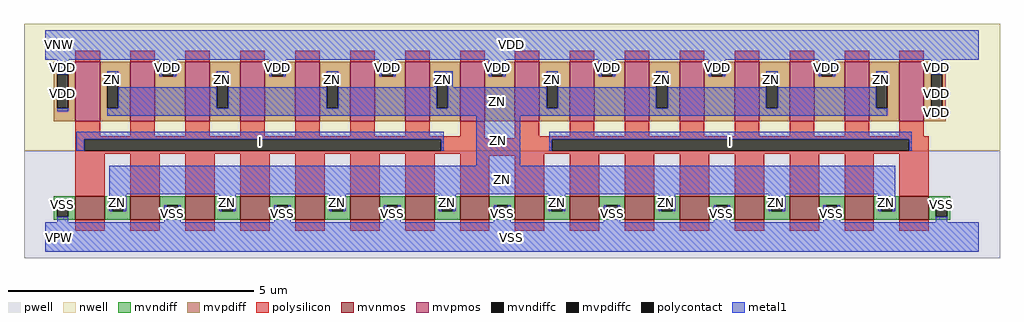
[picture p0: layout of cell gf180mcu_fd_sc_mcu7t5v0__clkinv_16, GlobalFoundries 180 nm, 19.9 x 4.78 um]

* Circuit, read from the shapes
.subckt gf180mcu_fd_sc_mcu7t5v0__clkinv_16 I ZN VDD VNW VPW VSS
XM1 ZN I VSS VPW nfet_06v0 w=0.48u l=0.6u m=16
XM2 ZN I VDD VNW pfet_06v0 w=1.22u l=0.5u m=16
.ends

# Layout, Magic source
magic
tech gf180mcuD
magscale 1 10
<< nwell >>
rect -86 352 3894 870
<< pwell >>
rect -86 -86 3894 352
<< mvnmos >>
rect 124 70 244 166
rect 348 70 468 166
rect 572 70 692 166
rect 796 70 916 166
rect 1020 70 1140 166
rect 1244 70 1364 166
rect 1468 70 1588 166
rect 1692 70 1812 166
rect 1916 70 2036 166
rect 2140 70 2260 166
rect 2364 70 2484 166
rect 2588 70 2708 166
rect 2812 70 2932 166
rect 3036 70 3156 166
rect 3260 70 3380 166
rect 3484 70 3604 166
<< mvpmos >>
rect 124 472 224 716
rect 348 472 448 716
rect 572 472 672 716
rect 796 472 896 716
rect 1020 472 1120 716
rect 1244 472 1344 716
rect 1468 472 1568 716
rect 1692 472 1792 716
rect 1916 472 2016 716
rect 2140 472 2240 716
rect 2364 472 2464 716
rect 2588 472 2688 716
rect 2812 472 2912 716
rect 3036 472 3136 716
rect 3260 472 3360 716
rect 3484 472 3584 716
<< mvndiff >>
rect 36 129 124 166
rect 36 83 49 129
rect 95 83 124 129
rect 36 70 124 83
rect 244 152 348 166
rect 244 106 273 152
rect 319 106 348 152
rect 244 70 348 106
rect 468 129 572 166
rect 468 83 497 129
rect 543 83 572 129
rect 468 70 572 83
rect 692 152 796 166
rect 692 106 721 152
rect 767 106 796 152
rect 692 70 796 106
rect 916 129 1020 166
rect 916 83 945 129
rect 991 83 1020 129
rect 916 70 1020 83
rect 1140 152 1244 166
rect 1140 106 1169 152
rect 1215 106 1244 152
rect 1140 70 1244 106
rect 1364 129 1468 166
rect 1364 83 1393 129
rect 1439 83 1468 129
rect 1364 70 1468 83
rect 1588 152 1692 166
rect 1588 106 1617 152
rect 1663 106 1692 152
rect 1588 70 1692 106
rect 1812 129 1916 166
rect 1812 83 1841 129
rect 1887 83 1916 129
rect 1812 70 1916 83
rect 2036 152 2140 166
rect 2036 106 2065 152
rect 2111 106 2140 152
rect 2036 70 2140 106
rect 2260 129 2364 166
rect 2260 83 2289 129
rect 2335 83 2364 129
rect 2260 70 2364 83
rect 2484 152 2588 166
rect 2484 106 2513 152
rect 2559 106 2588 152
rect 2484 70 2588 106
rect 2708 129 2812 166
rect 2708 83 2737 129
rect 2783 83 2812 129
rect 2708 70 2812 83
rect 2932 152 3036 166
rect 2932 106 2961 152
rect 3007 106 3036 152
rect 2932 70 3036 106
rect 3156 129 3260 166
rect 3156 83 3185 129
rect 3231 83 3260 129
rect 3156 70 3260 83
rect 3380 152 3484 166
rect 3380 106 3409 152
rect 3455 106 3484 152
rect 3380 70 3484 106
rect 3604 129 3692 166
rect 3604 83 3633 129
rect 3679 83 3692 129
rect 3604 70 3692 83
<< mvpdiff >>
rect 36 665 124 716
rect 36 525 49 665
rect 95 525 124 665
rect 36 472 124 525
rect 224 665 348 716
rect 224 525 253 665
rect 299 525 348 665
rect 224 472 348 525
rect 448 703 572 716
rect 448 657 477 703
rect 523 657 572 703
rect 448 472 572 657
rect 672 665 796 716
rect 672 525 701 665
rect 747 525 796 665
rect 672 472 796 525
rect 896 703 1020 716
rect 896 657 925 703
rect 971 657 1020 703
rect 896 472 1020 657
rect 1120 665 1244 716
rect 1120 525 1149 665
rect 1195 525 1244 665
rect 1120 472 1244 525
rect 1344 703 1468 716
rect 1344 657 1373 703
rect 1419 657 1468 703
rect 1344 472 1468 657
rect 1568 665 1692 716
rect 1568 525 1597 665
rect 1643 525 1692 665
rect 1568 472 1692 525
rect 1792 703 1916 716
rect 1792 657 1821 703
rect 1867 657 1916 703
rect 1792 472 1916 657
rect 2016 665 2140 716
rect 2016 525 2045 665
rect 2091 525 2140 665
rect 2016 472 2140 525
rect 2240 703 2364 716
rect 2240 657 2269 703
rect 2315 657 2364 703
rect 2240 472 2364 657
rect 2464 665 2588 716
rect 2464 525 2493 665
rect 2539 525 2588 665
rect 2464 472 2588 525
rect 2688 703 2812 716
rect 2688 657 2717 703
rect 2763 657 2812 703
rect 2688 472 2812 657
rect 2912 665 3036 716
rect 2912 525 2941 665
rect 2987 525 3036 665
rect 2912 472 3036 525
rect 3136 703 3260 716
rect 3136 657 3165 703
rect 3211 657 3260 703
rect 3136 472 3260 657
rect 3360 665 3484 716
rect 3360 525 3389 665
rect 3435 525 3484 665
rect 3360 472 3484 525
rect 3584 665 3672 716
rect 3584 525 3613 665
rect 3659 525 3672 665
rect 3584 472 3672 525
<< mvndiffc >>
rect 49 83 95 129
rect 273 106 319 152
rect 497 83 543 129
rect 721 106 767 152
rect 945 83 991 129
rect 1169 106 1215 152
rect 1393 83 1439 129
rect 1617 106 1663 152
rect 1841 83 1887 129
rect 2065 106 2111 152
rect 2289 83 2335 129
rect 2513 106 2559 152
rect 2737 83 2783 129
rect 2961 106 3007 152
rect 3185 83 3231 129
rect 3409 106 3455 152
rect 3633 83 3679 129
<< mvpdiffc >>
rect 49 525 95 665
rect 253 525 299 665
rect 477 657 523 703
rect 701 525 747 665
rect 925 657 971 703
rect 1149 525 1195 665
rect 1373 657 1419 703
rect 1597 525 1643 665
rect 1821 657 1867 703
rect 2045 525 2091 665
rect 2269 657 2315 703
rect 2493 525 2539 665
rect 2717 657 2763 703
rect 2941 525 2987 665
rect 3165 657 3211 703
rect 3389 525 3435 665
rect 3613 525 3659 665
<< polysilicon >>
rect 124 716 224 760
rect 348 716 448 760
rect 572 716 672 760
rect 796 716 896 760
rect 1020 716 1120 760
rect 1244 716 1344 760
rect 1468 716 1568 760
rect 1692 716 1792 760
rect 1916 716 2016 760
rect 2140 716 2240 760
rect 2364 716 2464 760
rect 2588 716 2688 760
rect 2812 716 2912 760
rect 3036 716 3136 760
rect 3260 716 3360 760
rect 3484 716 3584 760
rect 124 412 224 472
rect 348 412 448 472
rect 572 412 672 472
rect 796 412 896 472
rect 1020 412 1120 472
rect 1244 412 1344 472
rect 1468 412 1568 472
rect 1692 412 1792 472
rect 124 403 1792 412
rect 1916 412 2016 472
rect 2140 412 2240 472
rect 2364 412 2464 472
rect 2588 412 2688 472
rect 2812 412 2912 472
rect 3036 412 3136 472
rect 3260 412 3360 472
rect 3484 412 3584 472
rect 1916 403 3604 412
rect 124 399 3604 403
rect 124 353 159 399
rect 1615 353 2067 399
rect 3523 353 3604 399
rect 124 340 3604 353
rect 124 166 244 340
rect 348 166 468 340
rect 572 166 692 340
rect 796 166 916 340
rect 1020 166 1140 340
rect 1244 166 1364 340
rect 1468 166 1588 340
rect 1692 331 2036 340
rect 1692 166 1812 331
rect 1916 166 2036 331
rect 2140 166 2260 340
rect 2364 166 2484 340
rect 2588 166 2708 340
rect 2812 166 2932 340
rect 3036 166 3156 340
rect 3260 166 3380 340
rect 3484 166 3604 340
rect 124 26 244 70
rect 348 26 468 70
rect 572 26 692 70
rect 796 26 916 70
rect 1020 26 1140 70
rect 1244 26 1364 70
rect 1468 26 1588 70
rect 1692 26 1812 70
rect 1916 26 2036 70
rect 2140 26 2260 70
rect 2364 26 2484 70
rect 2588 26 2708 70
rect 2812 26 2932 70
rect 3036 26 3156 70
rect 3260 26 3380 70
rect 3484 26 3604 70
<< polycontact >>
rect 159 353 1615 399
rect 2067 353 3523 399
<< metal1 >>
rect 0 724 3808 844
rect 49 665 95 724
rect 466 703 534 724
rect 49 514 95 525
rect 253 665 299 676
rect 466 657 477 703
rect 523 657 534 703
rect 914 703 982 724
rect 701 665 747 676
rect 299 525 701 611
rect 914 657 925 703
rect 971 657 982 703
rect 1362 703 1430 724
rect 1149 665 1195 676
rect 747 525 1149 611
rect 1362 657 1373 703
rect 1419 657 1430 703
rect 1810 703 1878 724
rect 1586 665 1662 676
rect 1586 611 1597 665
rect 1195 525 1597 611
rect 1643 611 1662 665
rect 1810 657 1821 703
rect 1867 657 1878 703
rect 2258 703 2326 724
rect 2045 665 2091 676
rect 1643 525 2045 611
rect 2258 657 2269 703
rect 2315 657 2326 703
rect 2706 703 2774 724
rect 2493 665 2539 676
rect 2091 525 2493 611
rect 2706 657 2717 703
rect 2763 657 2774 703
rect 3154 703 3222 724
rect 2941 665 2987 676
rect 2539 525 2941 611
rect 3154 657 3165 703
rect 3211 657 3222 703
rect 3389 665 3435 676
rect 2987 525 3389 611
rect 253 495 3435 525
rect 3613 665 3659 724
rect 3613 506 3659 525
rect 128 399 1626 430
rect 128 353 159 399
rect 1615 353 1626 399
rect 128 352 1626 353
rect 1758 291 1938 495
rect 2056 399 3534 430
rect 2056 353 2067 399
rect 3523 353 3534 399
rect 262 175 3466 291
rect 262 152 330 175
rect 49 129 95 140
rect 262 106 273 152
rect 319 106 330 152
rect 710 152 778 175
rect 49 60 95 83
rect 486 83 497 129
rect 543 83 554 129
rect 710 106 721 152
rect 767 106 778 152
rect 1158 152 1226 175
rect 486 60 554 83
rect 934 83 945 129
rect 991 83 1002 129
rect 1158 106 1169 152
rect 1215 106 1226 152
rect 1606 152 1674 175
rect 934 60 1002 83
rect 1382 83 1393 129
rect 1439 83 1450 129
rect 1606 106 1617 152
rect 1663 106 1674 152
rect 2054 152 2122 175
rect 1382 60 1450 83
rect 1830 83 1841 129
rect 1887 83 1898 129
rect 2054 106 2065 152
rect 2111 106 2122 152
rect 2502 152 2570 175
rect 1830 60 1898 83
rect 2278 83 2289 129
rect 2335 83 2346 129
rect 2502 106 2513 152
rect 2559 106 2570 152
rect 2950 152 3018 175
rect 2278 60 2346 83
rect 2726 83 2737 129
rect 2783 83 2794 129
rect 2950 106 2961 152
rect 3007 106 3018 152
rect 3398 152 3466 175
rect 2726 60 2794 83
rect 3174 83 3185 129
rect 3231 83 3242 129
rect 3398 106 3409 152
rect 3455 106 3466 152
rect 3633 129 3679 140
rect 3174 60 3242 83
rect 3633 60 3679 83
rect 0 -60 3808 60
<< labels >>
flabel metal1 s 0 724 3808 844 0 FreeSans 600 0 0 0 VDD
port 3 nsew power bidirectional abutment
flabel metal1 s 3633 129 3679 140 0 FreeSans 600 0 0 0 VSS
port 6 nsew ground bidirectional abutment
flabel metal1 s 3389 611 3435 676 0 FreeSans 600 0 0 0 ZN
port 2 nsew default output
flabel metal1 s 128 352 1626 430 0 FreeSans 600 0 0 0 I
port 1 nsew default input
flabel nwell s 10 734 110 834 0 FreeSans 400 0 0 0 VNW
port 4 nsew power bidirectional
flabel pwell s 10 -50 110 50 0 FreeSans 400 0 0 0 VPW
port 5 nsew ground bidirectional
rlabel metal1 s 2056 353 3534 430 1 I
port 1 nsew default input
rlabel metal1 s 2941 611 2987 676 1 ZN
port 2 nsew default output
rlabel metal1 s 2493 611 2539 676 1 ZN
port 2 nsew default output
rlabel metal1 s 2045 611 2091 676 1 ZN
port 2 nsew default output
rlabel metal1 s 1586 611 1662 676 1 ZN
port 2 nsew default output
rlabel metal1 s 1149 611 1195 676 1 ZN
port 2 nsew default output
rlabel metal1 s 701 611 747 676 1 ZN
port 2 nsew default output
rlabel metal1 s 253 611 299 676 1 ZN
port 2 nsew default output
rlabel metal1 s 253 495 3435 611 1 ZN
port 2 nsew default output
rlabel metal1 s 1758 291 1938 495 1 ZN
port 2 nsew default output
rlabel metal1 s 262 175 3466 291 1 ZN
port 2 nsew default output
rlabel metal1 s 3398 106 3466 175 1 ZN
port 2 nsew default output
rlabel metal1 s 2950 106 3018 175 1 ZN
port 2 nsew default output
rlabel metal1 s 2502 106 2570 175 1 ZN
port 2 nsew default output
rlabel metal1 s 2054 106 2122 175 1 ZN
port 2 nsew default output
rlabel metal1 s 1606 106 1674 175 1 ZN
port 2 nsew default output
rlabel metal1 s 1158 106 1226 175 1 ZN
port 2 nsew default output
rlabel metal1 s 710 106 778 175 1 ZN
port 2 nsew default output
rlabel metal1 s 262 106 330 175 1 ZN
port 2 nsew default output
rlabel metal1 s 3613 657 3659 724 1 VDD
port 3 nsew power bidirectional abutment
rlabel metal1 s 3154 657 3222 724 1 VDD
port 3 nsew power bidirectional abutment
rlabel metal1 s 2706 657 2774 724 1 VDD
port 3 nsew power bidirectional abutment
rlabel metal1 s 2258 657 2326 724 1 VDD
port 3 nsew power bidirectional abutment
rlabel metal1 s 1810 657 1878 724 1 VDD
port 3 nsew power bidirectional abutment
rlabel metal1 s 1362 657 1430 724 1 VDD
port 3 nsew power bidirectional abutment
rlabel metal1 s 914 657 982 724 1 VDD
port 3 nsew power bidirectional abutment
rlabel metal1 s 466 657 534 724 1 VDD
port 3 nsew power bidirectional abutment
rlabel metal1 s 49 657 95 724 1 VDD
port 3 nsew power bidirectional abutment
rlabel metal1 s 3613 514 3659 657 1 VDD
port 3 nsew power bidirectional abutment
rlabel metal1 s 49 514 95 657 1 VDD
port 3 nsew power bidirectional abutment
rlabel metal1 s 3613 506 3659 514 1 VDD
port 3 nsew power bidirectional abutment
rlabel metal1 s 49 129 95 140 1 VSS
port 6 nsew ground bidirectional abutment
rlabel metal1 s 3633 60 3679 129 1 VSS
port 6 nsew ground bidirectional abutment
rlabel metal1 s 3174 60 3242 129 1 VSS
port 6 nsew ground bidirectional abutment
rlabel metal1 s 2726 60 2794 129 1 VSS
port 6 nsew ground bidirectional abutment
rlabel metal1 s 2278 60 2346 129 1 VSS
port 6 nsew ground bidirectional abutment
rlabel metal1 s 1830 60 1898 129 1 VSS
port 6 nsew ground bidirectional abutment
rlabel metal1 s 1382 60 1450 129 1 VSS
port 6 nsew ground bidirectional abutment
rlabel metal1 s 934 60 1002 129 1 VSS
port 6 nsew ground bidirectional abutment
rlabel metal1 s 486 60 554 129 1 VSS
port 6 nsew ground bidirectional abutment
rlabel metal1 s 49 60 95 129 1 VSS
port 6 nsew ground bidirectional abutment
rlabel metal1 s 0 -60 3808 60 1 VSS
port 6 nsew ground bidirectional abutment
<< properties >>
string FIXED_BBOX 0 0 3808 784
string GDS_END 847204
string GDS_FILE $PDKPATH/libs.ref/gf180mcu_fd_sc_mcu7t5v0/gds/gf180mcu_fd_sc_mcu7t5v0.gds
string GDS_START 838608
string LEFclass core
string LEFsite GF018hv5v_mcu_sc7
string LEFsymmetry X Y
<< end >>
